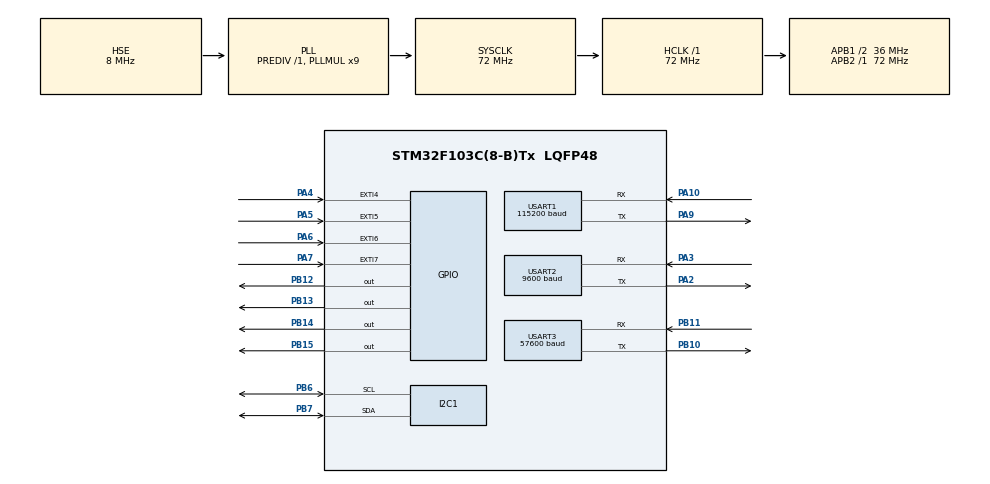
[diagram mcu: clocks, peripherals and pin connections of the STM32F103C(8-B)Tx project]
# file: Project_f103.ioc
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I2C1.I2C_Mode=I2C_Standard
Mcu.Family=STM32F1
Mcu.Name=STM32F103C(8-B)Tx
Mcu.Package=LQFP48
NVIC.EXTI4_IRQn=true\:0\:0\:false\:false\:true\:true\:true\:true
NVIC.EXTI9_5_IRQn=true\:0\:0\:false\:false\:true\:true\:true\:true
NVIC.PriorityGroup=NVIC_PRIORITYGROUP_4
NVIC.USART1_IRQn=true\:0\:0\:false\:false\:true\:true\:true\:true
NVIC.USART2_IRQn=true\:15\:0\:true\:false\:true\:true\:true\:true
NVIC.USART3_IRQn=true\:0\:0\:false\:false\:true\:true\:true\:true
PA10.Mode=Asynchronous
PA10.Signal=USART1_RX
PA13.Mode=Serial_Wire
PA13.Signal=SYS_JTMS-SWDIO
PA14.Mode=Serial_Wire
PA14.Signal=SYS_JTCK-SWCLK
PA2.Mode=Asynchronous
PA2.Signal=USART2_TX
PA3.Mode=Asynchronous
PA3.Signal=USART2_RX
PA4.Signal=GPXTI4
PA5.Signal=GPXTI5
PA6.Signal=GPXTI6
PA7.Signal=GPXTI7
PA9.Mode=Asynchronous
PA9.Signal=USART1_TX
PB10.Mode=Asynchronous
PB10.Signal=USART3_TX
PB11.Mode=Asynchronous
PB11.Signal=USART3_RX
PB12.PinState=GPIO_PIN_SET
PB12.Signal=GPIO_Output
PB13.PinState=GPIO_PIN_SET
PB13.Signal=GPIO_Output
PB14.PinState=GPIO_PIN_SET
PB14.Signal=GPIO_Output
PB15.PinState=GPIO_PIN_SET
PB15.Signal=GPIO_Output
PB6.Mode=I2C
PB6.Signal=I2C1_SCL
PB7.Mode=I2C
PB7.Signal=I2C1_SDA
PD0-OSC_IN.Mode=HSE-External-Oscillator
PD0-OSC_IN.Signal=RCC_OSC_IN
PD1-OSC_OUT.Mode=HSE-External-Oscillator
PD1-OSC_OUT.Signal=RCC_OSC_OUT
ProjectManager.HeapSize=0x200
ProjectManager.StackSize=0x400
ProjectManager.TargetToolchain=STM32CubeIDE
RCC.AHBFreq_Value=72000000
RCC.APB1CLKDivider=RCC_HCLK_DIV2
RCC.APB1Freq_Value=36000000
RCC.APB1TimFreq_Value=72000000
RCC.APB2Freq_Value=72000000
RCC.APB2TimFreq_Value=72000000
RCC.HCLKFreq_Value=72000000
RCC.PLLMUL=RCC_PLL_MUL9
RCC.PLLSourceVirtual=RCC_PLLSOURCE_HSE
RCC.SYSCLKFreq_VALUE=72000000
RCC.SYSCLKSource=RCC_SYSCLKSOURCE_PLLCLK
RCC.USBFreq_Value=72000000
USART1.BaudRate=115200
USART1.VirtualMode=VM_ASYNC
USART2.BaudRate=9600
USART2.VirtualMode=VM_ASYNC
USART3.BaudRate=57600
USART3.VirtualMode=VM_ASYNC
board=custom

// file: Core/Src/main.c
/* USER CODE BEGIN Header */
/**
  ******************************************************************************
  * @file           : main.c
  * @brief          : Main program body
  ******************************************************************************
  * @attention
  *
  * Copyright (c) 2024 STMicroelectronics.
  * All rights reserved.
  *
  * This software is licensed under terms that can be found in the LICENSE file
  * in the root directory of this software component.
  * If no LICENSE file comes with this software, it is provided AS-IS.
  *
  ******************************************************************************
  */
/* USER CODE END Header */
#include "main.h"
#include "i2c.h"
#include "usart.h"
#include "gpio.h"

/* USER CODE BEGIN Includes */
#include "ssd1306.h"
#include "ssd1306_tests.h"
#include "ssd1306_fonts.h"
#include "menu.h"
#include "as608.h"
#include "delay.h"
/* USER CODE END Includes */

/* USER CODE BEGIN PV */
GPIO_InitTypeDef GPIO_InitStructPrivate = {0};
uint32_t previousMillis = 0;
uint32_t currentMillis = 0;
uint8_t keyPressed = 0;
char inputBuffer[16];  // 保存按键输入
uint8_t inputIndex = 0;  // 输入索引
char DoorPin[] = "5525"; // Predefined system PIN
uint8_t flag = 0;
uint8_t res = 1;
/* USER CODE END PV */

void SystemClock_Config(void);

/* USER CODE BEGIN 0 */
uint8_t RX_dat = 0;
uint8_t BT_Flag;
uint8_t facial_flag = 0;

void HAL_UART_RxCpltCallback(UART_HandleTypeDef *huart) // interrupt function
{
    if ((flag == 0) && (huart->Instance == USART2)) // make sure the message comes from UART2
    {
        if (RX_dat == 'o') // when the board receives 'o'
        {
            BT_Flag = 1;
        }
    }

    if ((flag == 13) && (huart->Instance == USART1)) // make sure the message comes from UART1
    {
        if (RX_dat == 'B') // when the board receives 'B'
        {
            facial_flag = 1;
        }
        HAL_UART_Receive_IT(&huart1, &RX_dat, 1); // enable interrupt again
    }
    HAL_UART_Receive_IT(&huart2, &RX_dat, 1); // enable interrupt again
}

/* USER CODE END 0 */

int main(void)
{

  /* MCU Configuration--------------------------------------------------------*/

  /* Reset of all peripherals, Initializes the Flash interface and the Systick. */
  HAL_Init();

  /* Configure the system clock */
  SystemClock_Config();

  /* Initialize all configured peripherals */
  MX_GPIO_Init();
  MX_I2C1_Init();
  MX_USART1_UART_Init();
  MX_USART3_UART_Init();
  MX_USART2_UART_Init();
  /* USER CODE BEGIN 2 */
  ssd1306_Init();
  as608_init();
  HAL_UART_Receive_IT(&huart2,&RX_dat,1);//turn on the interrupt of uart2
  /* USER CODE END 2 */

  /* Infinite loop */
  /* USER CODE BEGIN WHILE */
  while (1)
  {
      switch (flag) {
          case 0: // Initial menu
              flag = initial_menu();
              break;

          case 1: // Menu to check Door PIN
        	  flag = menu_pin();
              break;

          case 11: // Menu to check Door PIN
        	  flag = unlock_method();
              break;

          case 12: // Menu to check Door PIN
        	  flag = menu_fingerprint_check();
              break;

          case 13:
        	  HAL_UART_Receive_IT(&huart1,&RX_dat,1);//turn on the interrupt of uart2
              facial_flag = 0;
        	  flag = menu_facial_check();
        	  break;

          case 2: // Menu to check System PIN
        	  flag = menu_settings_check();
        	  break;

          case 3: // Menu to choose to edit system settings
        	  flag = menu_settings();
        	  break;

          case 31: // To change the Door PIN
        	  flag = set_doorPIN();
        	  break;

          case 32:
        	  flag = menu_modify_FR();
        	  break;

          case 33:
              flag = menu_record_FR();
              break;

          case 34:
              flag = menu_delete_FR();
              break;

          case 35:
        	  flag = menu_modify_Facial();
			  break;

          default:
              flag = 0; // In case unexpected value occurs, go back to main menu
              break;
      	  }
    /* USER CODE END WHILE */

  }
}

void SystemClock_Config(void)
{
  RCC_OscInitTypeDef RCC_OscInitStruct = {0};
  RCC_ClkInitTypeDef RCC_ClkInitStruct = {0};

  /** Initializes the RCC Oscillators according to the specified parameters
  * in the RCC_OscInitTypeDef structure.
  */
  RCC_OscInitStruct.OscillatorType = RCC_OSCILLATORTYPE_HSE;
  RCC_OscInitStruct.HSEState = RCC_HSE_ON;
  RCC_OscInitStruct.HSEPredivValue = RCC_HSE_PREDIV_DIV1;
  RCC_OscInitStruct.HSIState = RCC_HSI_ON;
  RCC_OscInitStruct.PLL.PLLState = RCC_PLL_ON;
  RCC_OscInitStruct.PLL.PLLSource = RCC_PLLSOURCE_HSE;
  RCC_OscInitStruct.PLL.PLLMUL = RCC_PLL_MUL9;
  if (HAL_RCC_OscConfig(&RCC_OscInitStruct) != HAL_OK)
  {
    Error_Handler();
  }

  /** Initializes the CPU, AHB and APB buses clocks
  */
  RCC_ClkInitStruct.ClockType = RCC_CLOCKTYPE_HCLK|RCC_CLOCKTYPE_SYSCLK
                              |RCC_CLOCKTYPE_PCLK1|RCC_CLOCKTYPE_PCLK2;
  RCC_ClkInitStruct.SYSCLKSource = RCC_SYSCLKSOURCE_PLLCLK;
  RCC_ClkInitStruct.AHBCLKDivider = RCC_SYSCLK_DIV1;
  RCC_ClkInitStruct.APB1CLKDivider = RCC_HCLK_DIV2;
  RCC_ClkInitStruct.APB2CLKDivider = RCC_HCLK_DIV1;

  if (HAL_RCC_ClockConfig(&RCC_ClkInitStruct, FLASH_LATENCY_2) != HAL_OK)
  {
    Error_Handler();
  }
}

/* USER CODE BEGIN 4 */
void HAL_GPIO_EXTI_Callback(uint16_t GPIO_Pin)
{
  currentMillis = HAL_GetTick();
  if (currentMillis - previousMillis > 200) {
    // Configure GPIO pins : PA4 PA5 PA6 PA7 to GPIO_INPUT
    GPIO_InitStructPrivate.Pin = GPIO_PIN_4|GPIO_PIN_5|GPIO_PIN_6|GPIO_PIN_7;
    GPIO_InitStructPrivate.Mode = GPIO_MODE_INPUT;
    GPIO_InitStructPrivate.Pull = GPIO_NOPULL;
    GPIO_InitStructPrivate.Speed = GPIO_SPEED_FREQ_LOW;
    HAL_GPIO_Init(GPIOA, &GPIO_InitStructPrivate);

    HAL_GPIO_WritePin(GPIOB, GPIO_PIN_13, 0);
    HAL_GPIO_WritePin(GPIOB, GPIO_PIN_14, 0);
    HAL_GPIO_WritePin(GPIOB, GPIO_PIN_15, 0);
    HAL_GPIO_WritePin(GPIOB, GPIO_PIN_12, 1);
    if(GPIO_Pin == GPIO_PIN_4 && HAL_GPIO_ReadPin(GPIOA, GPIO_PIN_4))
    {
      keyPressed = 68; // ASCII value of D
    }
    else if(GPIO_Pin == GPIO_PIN_5 && HAL_GPIO_ReadPin(GPIOA, GPIO_PIN_5))
    {
      keyPressed = 67; // ASCII value of C
    }
    else if(GPIO_Pin == GPIO_PIN_6 && HAL_GPIO_ReadPin(GPIOA, GPIO_PIN_6))
    {
      keyPressed = 66; // ASCII value of B
    }
    else if(GPIO_Pin == GPIO_PIN_7 && HAL_GPIO_ReadPin(GPIOA, GPIO_PIN_7))
    {
      keyPressed = 65; // ASCII value of A
    }

    HAL_GPIO_WritePin(GPIOB, GPIO_PIN_13, 1);
    HAL_GPIO_WritePin(GPIOB, GPIO_PIN_14, 0);
    HAL_GPIO_WritePin(GPIOB, GPIO_PIN_15, 0);
    HAL_GPIO_WritePin(GPIOB, GPIO_PIN_12, 0);
    if(GPIO_Pin == GPIO_PIN_4 && HAL_GPIO_ReadPin(GPIOA, GPIO_PIN_4))
    {
      keyPressed = 35; // ASCII value of #
    }
    else if(GPIO_Pin == GPIO_PIN_5 && HAL_GPIO_ReadPin(GPIOA, GPIO_PIN_5))
    {
      keyPressed = 57; // ASCII value of 9
    }
    else if(GPIO_Pin == GPIO_PIN_6 && HAL_GPIO_ReadPin(GPIOA, GPIO_PIN_6))
    {
      keyPressed = 54; // ASCII value of 6
    }
    else if(GPIO_Pin == GPIO_PIN_7 && HAL_GPIO_ReadPin(GPIOA, GPIO_PIN_7))
    {
      keyPressed = 51; // ASCII value of 3
    }

    HAL_GPIO_WritePin(GPIOB, GPIO_PIN_13, 0);
    HAL_GPIO_WritePin(GPIOB, GPIO_PIN_14, 1);
    HAL_GPIO_WritePin(GPIOB, GPIO_PIN_15, 0);
    HAL_GPIO_WritePin(GPIOB, GPIO_PIN_12, 0);
    if(GPIO_Pin == GPIO_PIN_4 && HAL_GPIO_ReadPin(GPIOA, GPIO_PIN_4))
    {
      keyPressed = 48; // ASCII value of 0
    }
    else if(GPIO_Pin == GPIO_PIN_5 && HAL_GPIO_ReadPin(GPIOA, GPIO_PIN_5))
    {
      keyPressed = 56; // ASCII value of 8
    }
    else if(GPIO_Pin == GPIO_PIN_6 && HAL_GPIO_ReadPin(GPIOA, GPIO_PIN_6))
    {
      keyPressed = 53; // ASCII value of 5
    }
    else if(GPIO_Pin == GPIO_PIN_7 && HAL_GPIO_ReadPin(GPIOA, GPIO_PIN_7))
    {
      keyPressed = 50; // ASCII value of 2
    }

    HAL_GPIO_WritePin(GPIOB, GPIO_PIN_13, 0);
    HAL_GPIO_WritePin(GPIOB, GPIO_PIN_14, 0);
    HAL_GPIO_WritePin(GPIOB, GPIO_PIN_15, 1);
    HAL_GPIO_WritePin(GPIOB, GPIO_PIN_12, 0);
    if(GPIO_Pin == GPIO_PIN_4 && HAL_GPIO_ReadPin(GPIOA, GPIO_PIN_4))
    {
      keyPressed = 42; // ASCII value of *
    }
    else if(GPIO_Pin == GPIO_PIN_5 && HAL_GPIO_ReadPin(GPIOA, GPIO_PIN_5))
    {
      keyPressed = 55; // ASCII value of 7
    }
    else if(GPIO_Pin == GPIO_PIN_6 && HAL_GPIO_ReadPin(GPIOA, GPIO_PIN_6))
    {
      keyPressed = 52; // ASCII value of 4
    }
    else if(GPIO_Pin == GPIO_PIN_7 && HAL_GPIO_ReadPin(GPIOA, GPIO_PIN_7))
    {
      keyPressed = 49; // ASCII value of 1
    }

    HAL_GPIO_WritePin(GPIOB, GPIO_PIN_13, 1);
    HAL_GPIO_WritePin(GPIOB, GPIO_PIN_14, 1);
    HAL_GPIO_WritePin(GPIOB, GPIO_PIN_15, 1);
    HAL_GPIO_WritePin(GPIOB, GPIO_PIN_12, 1);
    // Configure GPIO pins : PA4 PA5 PA6 PA7 back to EXTI
    GPIO_InitStructPrivate.Mode = GPIO_MODE_IT_RISING;
    GPIO_InitStructPrivate.Pull = GPIO_PULLDOWN;
    HAL_GPIO_Init(GPIOA, &GPIO_InitStructPrivate);
    previousMillis = currentMillis;
  }
}
/* USER CODE END 4 */

void Error_Handler(void)
{
  __disable_irq();
  while (1)
  {
  }
}
